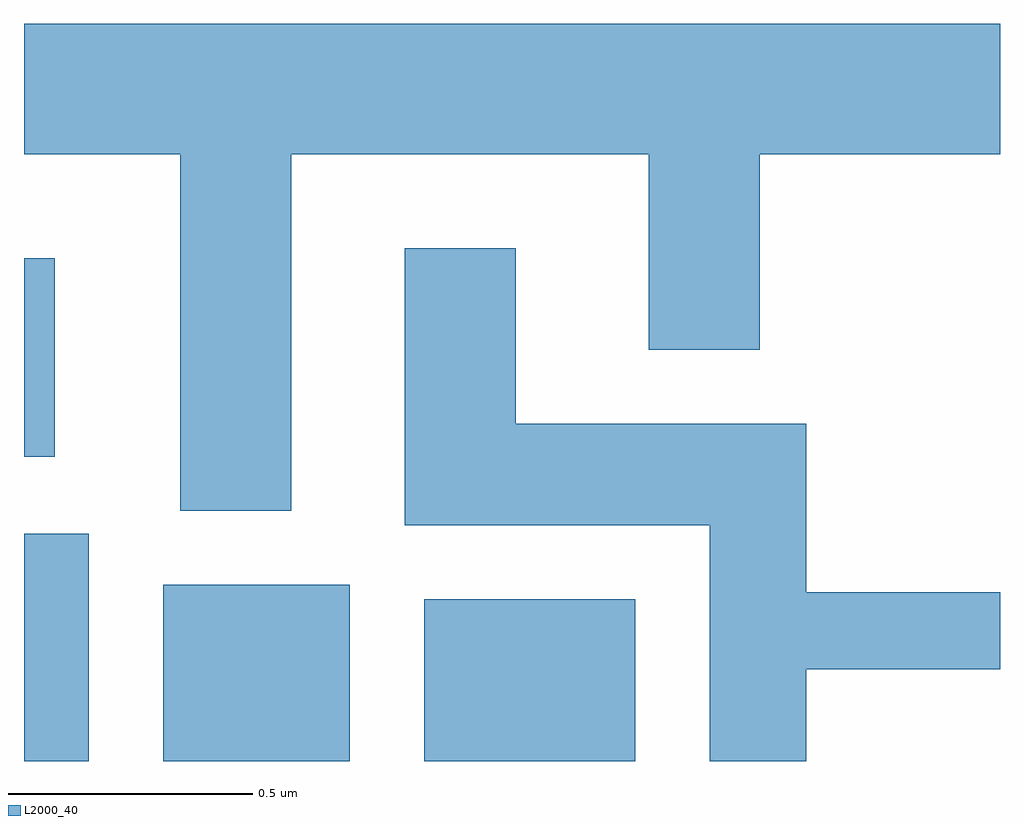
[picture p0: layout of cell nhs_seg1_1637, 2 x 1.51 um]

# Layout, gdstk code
import gdstk
lib = gdstk.Library(unit=1e-6, precision=1e-09)
def R(c, l, rs):  # rectangles x0, y0, x1, y1
    for r in rs: c.add(gdstk.rectangle(r[:2], r[2:], *l))
def P(c, l, *ps):  # polygons
    for p in ps: c.add(gdstk.Polygon(p, *l))
L2000_40 = (2000, 40)

nhs_seg1_1637 = lib.new_cell('nhs_seg1_1637')
R(nhs_seg1_1637, L2000_40, [(197.611,851.712,197.744,852.179), (197.896,851.712,198.279,852.074), (198.431,851.712,198.864,852.044), (197.611,852.336,197.674,852.743)])
P(nhs_seg1_1637, L2000_40, [(198.159,852.956),(198.891,852.956),(198.891,852.556),(199.119,852.556),(199.119,852.956),(199.611,852.956),(199.611,853.224),(197.611,853.224),(197.611,852.956),(197.931,852.956),(197.931,852.226),(198.159,852.226)],
  [(199.214,851.901),(199.611,851.901),(199.611,852.059),(199.214,852.059),(199.214,852.404),(198.619,852.404),(198.619,852.764),(198.391,852.764),(198.391,852.196),(199.016,852.196),(199.016,851.712),(199.214,851.712)])

lib.write_gds('nhs_seg1_1637.gds')
